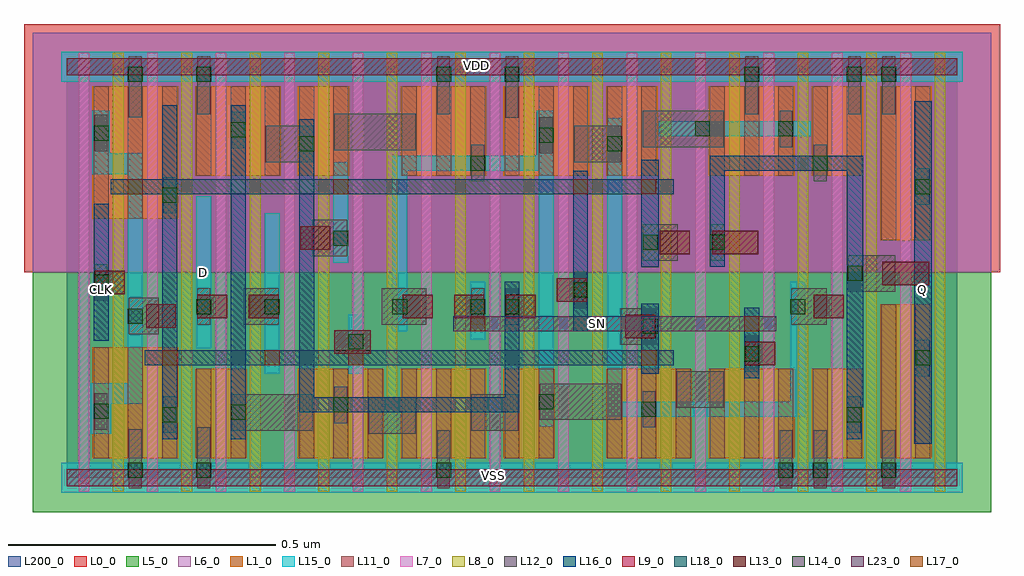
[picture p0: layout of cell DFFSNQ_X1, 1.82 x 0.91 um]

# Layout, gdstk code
import gdstk
lib = gdstk.Library(unit=1e-6, precision=1e-09)
def R(c, l, rs):  # rectangles x0, y0, x1, y1
    for r in rs: c.add(gdstk.rectangle(r[:2], r[2:], *l))
def A(c, l, x, y, w, h, nx, ny, dx, dy):  # array of equal rectangles
    R(c, l, [(x+i*dx, y+j*dy, x+i*dx+w, y+j*dy+h) for i in range(nx) for j in range(ny)])
def P(c, l, *ps):  # polygons
    for p in ps: c.add(gdstk.Polygon(p, *l))
L0_0 = (0, 0)
L1_0 = (1, 0)
L5_0 = (5, 0)
L6_0 = (6, 0)
L7_0 = (7, 0)
L8_0 = (8, 0)
L9_0 = (9, 0)
L11_0 = (11, 0)
L12_0 = (12, 0)
L13_0 = (13, 0)
L14_0 = (14, 0)
L15_0 = (15, 0)
L16_0 = (16, 0)
L17_0 = (17, 0)
L18_0 = (18, 0)
L23_0 = (23, 0)
L200_0 = (200, 0)

dffsnq_x1 = lib.new_cell('DFFSNQ_X1')
R(dffsnq_x1, L0_0, [(-0.08,0.384,1.744,0.848)])
A(dffsnq_x1, L1_0, 0.24, 0.036, 0.096, 0.168, 3, 1, 0.576, 0)
R(dffsnq_x1, L1_0, [(0.048,0.036,0.208,0.244), (0.432,0.036,0.592,0.204), (0.624,0.036,0.784,0.204), (1.008,0.036,1.168,0.204), (1.2,0.036,1.36,0.204), (1.52,0.036,1.616,0.324), (1.52,0.444,1.616,0.732), (0.048,0.484,0.208,0.732), (0.24,0.564,0.4,0.732), (0.432,0.564,0.528,0.732), (0.624,0.564,0.784,0.732), (0.816,0.564,0.976,0.732), (1.008,0.564,1.104,0.732), (1.2,0.564,1.36,0.732), (1.392,0.564,1.488,0.732)])
R(dffsnq_x1, L5_0, [(-0.064,-0.064,1.728,0.384)])
R(dffsnq_x1, L6_0, [(-0.064,0.384,1.728,0.832)])
A(dffsnq_x1, L7_0, 0.022, -0.026, 0.02, 0.82, 13, 1, 0.128, 0)
A(dffsnq_x1, L8_0, 0.086, -0.026, 0.02, 0.82, 13, 1, 0.128, 0)
R(dffsnq_x1, L9_0, [(0,-0.016,1.664,0.016), (0,0.752,1.664,0.784)])
A(dffsnq_x1, L11_0, 0.05, 0.036, 0.028, 0.208, 3, 1, 0.064, 0)
A(dffsnq_x1, L11_0, 0.434, 0.036, 0.028, 0.168, 8, 1, 0.064, 0)
A(dffsnq_x1, L11_0, 1.01, 0.036, 0.028, 0.168, 8, 1, 0.064, 0)
A(dffsnq_x1, L11_0, 0.05, 0.484, 0.028, 0.248, 3, 1, 0.064, 0)
A(dffsnq_x1, L11_0, 0.242, 0.564, 0.028, 0.168, 5, 1, 0.064, 0)
A(dffsnq_x1, L11_0, 0.626, 0.564, 0.028, 0.168, 8, 1, 0.064, 0)
A(dffsnq_x1, L11_0, 1.202, 0.564, 0.028, 0.168, 5, 1, 0.064, 0)
R(dffsnq_x1, L11_0, [(0.242,0.036,0.27,0.204), (0.306,0.036,0.334,0.204), (1.522,0.036,1.55,0.324), (1.586,0.036,1.614,0.324), (1.522,0.444,1.55,0.732), (1.586,0.444,1.614,0.732)])
R(dffsnq_x1, L12_0, [(0.116,-0.02,0.14,0.091), (0.244,-0.02,0.268,0.094), (0.692,-0.02,0.716,0.089), (1.332,-0.02,1.356,0.089), (1.396,-0.02,1.42,0.089), (1.524,-0.02,1.548,0.089), (0.564,0.082,0.652,0.15), (0.18,0.084,0.204,0.152), (1.46,0.084,1.484,0.152), (0.308,0.088,0.46,0.156), (0.756,0.088,0.844,0.156), (0.052,0.09,0.076,0.158), (1.076,0.094,1.1,0.162), (0.5,0.102,0.524,0.17), (0.884,0.108,1.036,0.176), (1.14,0.131,1.228,0.199), (1.588,0.19,1.612,0.258), (1.268,0.198,1.292,0.266), (1.035,0.249,1.102,0.317), (0.116,0.268,0.172,0.336), (0.244,0.286,0.268,0.354), (0.331,0.286,0.396,0.354), (0.589,0.286,0.672,0.354), (0.756,0.286,0.78,0.354), (0.82,0.286,0.844,0.354), (1.354,0.286,1.42,0.354), (0.948,0.317,0.972,0.385), (0.052,0.331,0.076,0.399), (1.46,0.348,1.548,0.416), (1.076,0.406,1.142,0.474), (1.204,0.406,1.23,0.474), (0.459,0.414,0.524,0.482), (0.18,0.494,0.204,0.562), (1.588,0.51,1.612,0.578), (0.756,0.554,0.78,0.622), (1.396,0.554,1.42,0.622), (0.372,0.59,0.46,0.658), (0.948,0.59,1.036,0.658), (0.884,0.606,0.908,0.674), (0.052,0.61,0.076,0.678), (0.5,0.612,0.652,0.68), (0.308,0.616,0.332,0.684), (1.076,0.618,1.228,0.686), (1.332,0.618,1.356,0.686), (0.82,0.673,0.844,0.788), (0.116,0.674,0.14,0.788), (0.244,0.679,0.268,0.788), (0.692,0.679,0.716,0.788), (1.268,0.679,1.292,0.788), (1.46,0.679,1.484,0.788), (1.524,0.679,1.548,0.788)])
A(dffsnq_x1, L13_0, 0.628, 0.298, 0.056, 0.044, 3, 1, 0.096, 0)
R(dffsnq_x1, L13_0, [(1.268,0.21,1.324,0.254), (0.5,0.232,0.568,0.276), (1.044,0.261,1.1,0.305), (0.148,0.28,0.204,0.324), (0.244,0.298,0.3,0.342), (0.34,0.298,0.396,0.342), (1.396,0.298,1.452,0.342), (0.916,0.329,0.972,0.373), (0.052,0.343,0.108,0.387), (1.524,0.36,1.612,0.404), (1.108,0.418,1.164,0.462), (1.206,0.418,1.292,0.462), (0.436,0.426,0.492,0.47)])
R(dffsnq_x1, L14_0, [(0.114,0,0.142,0.028), (0.242,0,0.27,0.028), (0.69,0,0.718,0.028), (1.33,0,1.358,0.028), (1.394,0,1.422,0.028), (1.522,0,1.55,0.028), (0.178,0.104,0.206,0.132), (1.458,0.104,1.486,0.132), (0.306,0.108,0.334,0.136), (0.05,0.11,0.078,0.138), (1.074,0.114,1.102,0.142), (0.498,0.122,0.526,0.15), (0.882,0.128,0.91,0.156), (1.586,0.21,1.614,0.238), (1.266,0.218,1.294,0.246), (0.526,0.24,0.554,0.268), (1.076,0.269,1.104,0.297), (0.114,0.288,0.142,0.316), (0.242,0.306,0.27,0.334), (0.37,0.306,0.398,0.334), (0.608,0.306,0.636,0.334), (0.754,0.306,0.782,0.334), (0.818,0.306,0.846,0.334), (1.352,0.306,1.38,0.334), (0.946,0.337,0.974,0.365), (0.05,0.351,0.078,0.379), (1.459,0.368,1.487,0.396), (1.076,0.426,1.104,0.454), (1.202,0.426,1.23,0.454), (0.498,0.434,0.526,0.462), (0.178,0.514,0.206,0.542), (1.586,0.53,1.614,0.558), (0.754,0.574,0.782,0.602), (1.394,0.574,1.422,0.602), (0.434,0.61,0.462,0.638), (1.01,0.61,1.038,0.638), (0.882,0.626,0.91,0.654), (0.05,0.63,0.078,0.658), (0.306,0.636,0.334,0.664), (1.174,0.638,1.202,0.666), (1.33,0.638,1.358,0.666), (0.114,0.74,0.142,0.768), (0.242,0.74,0.27,0.768), (0.69,0.74,0.718,0.768), (0.818,0.74,0.846,0.768), (1.266,0.74,1.294,0.768), (1.458,0.74,1.486,0.768), (1.522,0.74,1.55,0.768)])
R(dffsnq_x1, L15_0, [(-0.01,-0.028,1.674,0.028), (0.37,0.194,0.398,0.494), (0.526,0.194,0.554,0.305), (0.242,0.242,0.27,0.526), (0.754,0.258,0.782,0.366), (0.498,0.402,0.526,0.59), (1.106,0.638,1.39,0.666), (-0.01,0.74,1.674,0.796)])
P(dffsnq_x1, L15_0, [(0.048,0.567),(0.114,0.567),(0.114,0.177),(0.045,0.177),(0.045,0.082),(0.083,0.082),(0.083,0.138),(0.142,0.138),(0.142,0.606),(0.08,0.606),(0.08,0.686),(0.048,0.686)],
  [(0.608,0.274),(0.636,0.274),(0.636,0.574),(0.882,0.574),(0.882,0.096),(0.91,0.096),(0.91,0.686),(0.878,0.686),(0.878,0.602),(0.608,0.602)],
  [(1.01,0.114),(1.38,0.114),(1.38,0.366),(1.352,0.366),(1.352,0.142),(1.038,0.142),(1.038,0.672),(1.01,0.672)])
R(dffsnq_x1, L16_0, [(1.584,0.064,1.616,0.704), (0.178,0.072,0.206,0.696), (0.306,0.072,0.334,0.696), (1.266,0.186,1.294,0.318), (1.074,0.194,1.106,0.325), (0.05,0.256,0.078,0.512), (0.946,0.274,0.974,0.574), (1.074,0.393,1.106,0.594)])
P(dffsnq_x1, L16_0, [(0.434,0.122),(0.846,0.122),(0.846,0.366),(0.818,0.366),(0.818,0.15),(0.462,0.15),(0.462,0.67),(0.434,0.67)],
  [(1.202,0.394),(1.23,0.394),(1.23,0.574),(1.458,0.574),(1.458,0.072),(1.486,0.072),(1.486,0.132),(1.488,0.132),(1.488,0.602),(1.202,0.602)])
R(dffsnq_x1, L17_0, [(0.178,0.21,0.206,0.238), (0.37,0.21,0.398,0.238), (0.526,0.21,0.554,0.238), (1.074,0.21,1.102,0.238), (0.754,0.274,0.782,0.302), (1.266,0.274,1.294,0.302), (0.114,0.53,0.142,0.558), (0.498,0.53,0.526,0.558), (0.946,0.53,0.974,0.558), (1.074,0.53,1.102,0.558)])
R(dffsnq_x1, L18_0, [(0.146,0.21,1.134,0.238), (0.082,0.53,1.134,0.558)])
R(dffsnq_x1, L23_0, [(0.722,0.274,1.326,0.302)])
R(dffsnq_x1, L200_0, [(0,0,1.664,0.768)])
dffsnq_x1.add(gdstk.Label('VSS', (0.797,0.004), layer=15, texttype=20))
dffsnq_x1.add(gdstk.Label('D', (0.256,0.384), layer=15, texttype=20))
dffsnq_x1.add(gdstk.Label('VDD', (0.766,0.77), layer=15, texttype=20))
dffsnq_x1.add(gdstk.Label('CLK', (0.064,0.352), layer=16, texttype=20))
dffsnq_x1.add(gdstk.Label('Q', (1.6,0.352), layer=16, texttype=20))
dffsnq_x1.add(gdstk.Label('SN', (0.992,0.288), layer=23, texttype=20))

lib.write_gds('DFFSNQ_X1.gds')
